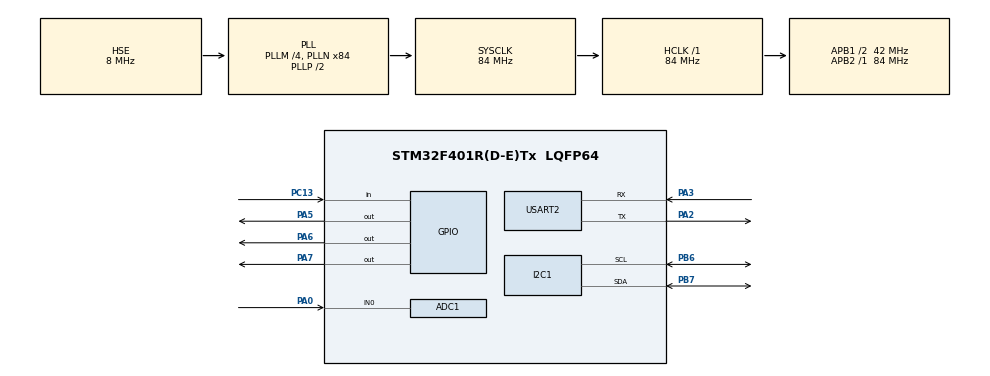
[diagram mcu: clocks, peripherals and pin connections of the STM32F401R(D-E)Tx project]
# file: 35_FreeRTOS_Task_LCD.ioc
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ADC1.Channel-0\#ChannelRegularConversion=ADC_CHANNEL_0
ADC1.NbrOfConversionFlag=1
ADC1.Rank-0\#ChannelRegularConversion=1
ADC1.SamplingTime-0\#ChannelRegularConversion=ADC_SAMPLETIME_3CYCLES
ADC1.master=1
Mcu.Family=STM32F4
Mcu.Name=STM32F401R(D-E)Tx
Mcu.Package=LQFP64
NVIC.PriorityGroup=NVIC_PRIORITYGROUP_4
NVIC.TIM1_TRG_COM_TIM11_IRQn=true\:15\:0\:false\:false\:true\:false\:true\:true
NVIC.TimeBase=TIM1_TRG_COM_TIM11_IRQn
NVIC.TimeBaseIP=TIM11
NVIC.USART2_IRQn=true\:0\:0\:false\:false\:true\:true\:true\:true
PA0-WKUP.Signal=ADCx_IN0
PA2.Mode=Asynchronous
PA2.Signal=USART2_TX
PA3.Mode=Asynchronous
PA3.Signal=USART2_RX
PA5.Signal=GPIO_Output
PA6.Signal=GPIO_Output
PA7.Signal=GPIO_Output
PB6.Mode=I2C
PB6.Signal=I2C1_SCL
PB7.Mode=I2C
PB7.Signal=I2C1_SDA
PC13-ANTI_TAMP.Signal=GPIO_Input
PH0\ -\ OSC_IN.Mode=HSE-External-Clock-Source
PH0\ -\ OSC_IN.Signal=RCC_OSC_IN
PH1\ -\ OSC_OUT.Mode=HSE-External-Clock-Source
PH1\ -\ OSC_OUT.Signal=RCC_OSC_OUT
ProjectManager.HeapSize=0x200
ProjectManager.StackSize=0x400
ProjectManager.TargetToolchain=STM32CubeIDE
RCC.48MHZClocksFreq_Value=42000000
RCC.AHBFreq_Value=84000000
RCC.APB1CLKDivider=RCC_HCLK_DIV2
RCC.APB1Freq_Value=42000000
RCC.APB1TimFreq_Value=84000000
RCC.APB2Freq_Value=84000000
RCC.APB2TimFreq_Value=84000000
RCC.CortexFreq_Value=84000000
RCC.HCLKFreq_Value=84000000
RCC.HSE_VALUE=8000000
RCC.HSI_VALUE=16000000
RCC.LSE_VALUE=32768
RCC.PLLM=4
RCC.PLLN=84
RCC.PLLSourceVirtual=RCC_PLLSOURCE_HSE
RCC.SYSCLKFreq_VALUE=84000000
RCC.SYSCLKSource=RCC_SYSCLKSOURCE_PLLCLK
RCC.VCOOutputFreq_Value=168000000
SH.ADCx_IN0.0=ADC1_IN0,IN0
USART2.VirtualMode=VM_ASYNC
VP_SYS_VS_tim11.Mode=TIM11
board=custom

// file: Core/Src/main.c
/* USER CODE BEGIN Header */
/* USER CODE END Header */
#include "main.h"
#include "adc.h"
#include "i2c.h"
#include "usart.h"
#include "gpio.h"

/* USER CODE BEGIN Includes */
#include "stdio.h"
#include "string.h"
#include "stdbool.h"

#include "FreeRTOS.h"
#include "task.h"

#include "lcd_i2c.h"
/* USER CODE END Includes */

/* USER CODE BEGIN PV */
TaskHandle_t LCD;
TaskHandle_t ADC_Read;
BaseType_t status;

uint16_t value = 0;
bool flag = false;
uint8_t str_value[16]="";
/* USER CODE END PV */

void SystemClock_Config(void);
/* USER CODE BEGIN PFP */

void vTask_LCD(void *params);
void vTask_ADC_Read(void *params);
/* USER CODE END PFP */

/* USER CODE BEGIN 0 */
#define SYSTEM_VIEW				1

/* USER CODE END 0 */

int main(void)
{

  /* MCU Configuration--------------------------------------------------------*/

  /* Reset of all peripherals, Initializes the Flash interface and the Systick. */
  HAL_Init();

  /* Configure the system clock */
  SystemClock_Config();

  /* Initialize all configured peripherals */
  MX_GPIO_Init();
  MX_USART2_UART_Init();
  MX_I2C1_Init();
  MX_ADC1_Init();
  /* USER CODE BEGIN 2 */

  status =  xTaskCreate(vTask_LCD, "lcd", configMINIMAL_STACK_SIZE, NULL, 1, &LCD);

  status = xTaskCreate(vTask_ADC_Read, "adcRead", configMINIMAL_STACK_SIZE, NULL, 1, &ADC_Read);

  configASSERT(status == pdPASS);

  vTaskStartScheduler();//Arrancamos el kernel

  /* USER CODE END 2 */

  /* Infinite loop */

}

void SystemClock_Config(void)
{
  RCC_OscInitTypeDef RCC_OscInitStruct = {0};
  RCC_ClkInitTypeDef RCC_ClkInitStruct = {0};

  /** Configure the main internal regulator output voltage
  */
  __HAL_RCC_PWR_CLK_ENABLE();
  __HAL_PWR_VOLTAGESCALING_CONFIG(PWR_REGULATOR_VOLTAGE_SCALE2);

  /** Initializes the RCC Oscillators according to the specified parameters
  * in the RCC_OscInitTypeDef structure.
  */
  RCC_OscInitStruct.OscillatorType = RCC_OSCILLATORTYPE_HSE;
  RCC_OscInitStruct.HSEState = RCC_HSE_BYPASS;
  RCC_OscInitStruct.PLL.PLLState = RCC_PLL_ON;
  RCC_OscInitStruct.PLL.PLLSource = RCC_PLLSOURCE_HSE;
  RCC_OscInitStruct.PLL.PLLM = 4;
  RCC_OscInitStruct.PLL.PLLN = 84;
  RCC_OscInitStruct.PLL.PLLP = RCC_PLLP_DIV2;
  RCC_OscInitStruct.PLL.PLLQ = 4;
  if (HAL_RCC_OscConfig(&RCC_OscInitStruct) != HAL_OK)
  {
    Error_Handler();
  }

  /** Initializes the CPU, AHB and APB buses clocks
  */
  RCC_ClkInitStruct.ClockType = RCC_CLOCKTYPE_HCLK|RCC_CLOCKTYPE_SYSCLK
                              |RCC_CLOCKTYPE_PCLK1|RCC_CLOCKTYPE_PCLK2;
  RCC_ClkInitStruct.SYSCLKSource = RCC_SYSCLKSOURCE_PLLCLK;
  RCC_ClkInitStruct.AHBCLKDivider = RCC_SYSCLK_DIV1;
  RCC_ClkInitStruct.APB1CLKDivider = RCC_HCLK_DIV2;
  RCC_ClkInitStruct.APB2CLKDivider = RCC_HCLK_DIV1;

  if (HAL_RCC_ClockConfig(&RCC_ClkInitStruct, FLASH_LATENCY_2) != HAL_OK)
  {
    Error_Handler();
  }
}

/* USER CODE BEGIN 4 */

void vTask_LCD(void *params){
	LCD_I2C_INIT();
	LCD_I2C_SET_CURSOR(0, 0);
	LCD_I2C_PRINT_STRING("FreeRTOS LCD");
	for(;;){
		if(flag == true){
			sprintf(str_value,"ADC->%04u",value);
			LCD_I2C_SET_CURSOR(0, 1);
			LCD_I2C_PRINT_STRING(str_value);
			flag = false;
			vTaskDelay(pdMS_TO_TICKS(200));
		}
	}

}

void vTask_ADC_Read(void *params)
{
	for(;;){
		HAL_ADC_Start(&hadc1);
		vTaskDelay(pdMS_TO_TICKS(1));
		value = HAL_ADC_GetValue(&hadc1);
		flag = true;
		vTaskDelay(pdMS_TO_TICKS(200));
	}

	vTaskDelete(NULL);

}
/* USER CODE END 4 */

void HAL_TIM_PeriodElapsedCallback(TIM_HandleTypeDef *htim)
{
  if (htim->Instance == TIM11) {
    HAL_IncTick();
  }
}

void Error_Handler(void)
{
}
